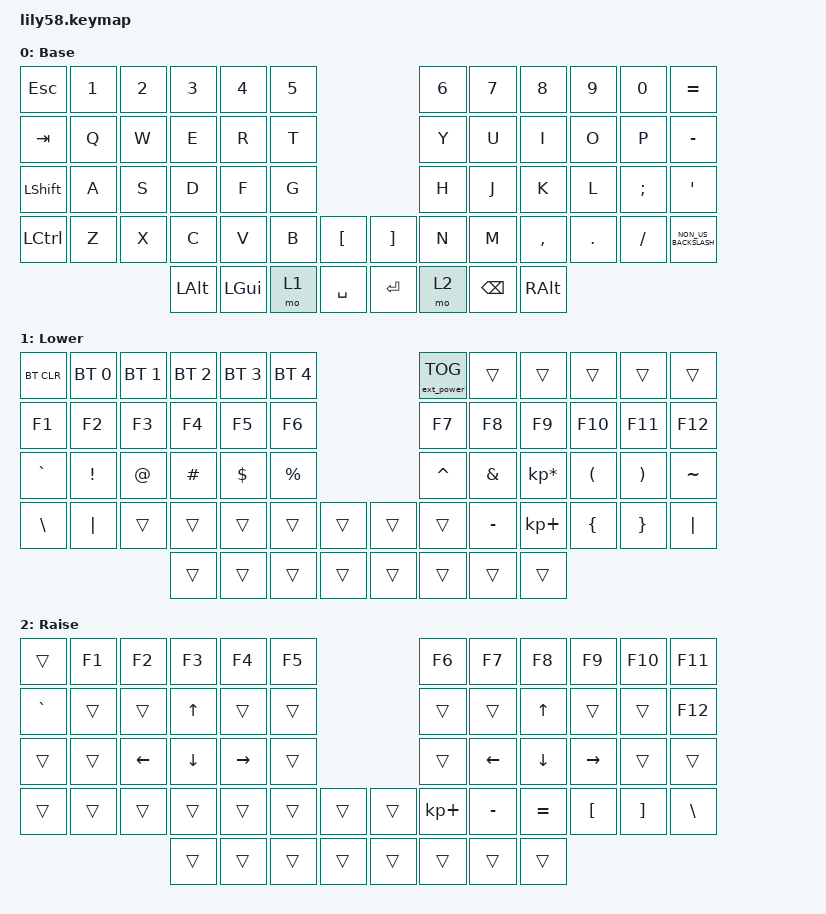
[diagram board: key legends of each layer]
/*
 * Copyright (c) 2020 The ZMK Contributors
 *
 * SPDX-License-Identifier: MIT
 */

#include <behaviors.dtsi>
#include <dt-bindings/zmk/bt.h>
#include <dt-bindings/zmk/ext_power.h>
#include <dt-bindings/zmk/keys.h>

/ {
    combos {
        compatible = "zmk,combos";

        delete {
            bindings = <&kp DELETE>;
            key-positions = <56 49>;
            layers = <0>;
        };

        toggle_lower_layer {
            bindings = <&tog 1>;
            key-positions = <52 36>;
        };

        toggle_higher_layer {
            bindings = <&tog 2>;
            key-positions = <55 49>;
        };
    };

    keymap {
        compatible = "zmk,keymap";

        default_layer {
            // ------------------------------------------------------------------------------------------------------------
            // |  ESC  |  1  |  2  |  3   |  4   |  5   |                   |  6   |  7    |  8    |  9   |   0   |   `   |
            // |  TAB  |  Q  |  W  |  E   |  R   |  T   |                   |  Y   |  U    |  I    |  O   |   P   |   -   |
            // |  CTRL |  A  |  S  |  D   |  F   |  G   |                   |  H   |  J    |  K    |  L   |   ;   |   '   |
            // | SHIFT |  Z  |  X  |  C   |  V   |  B   |   "["  |  |  "]"  |  N   |  M    |  ,    |  .   |   /   | SHIFT |
            //                     | ALT  | GUI  | LOWER|  SPACE |  | ENTER | RAISE| BSPC  | GUI   |

            display-name = "Base";
            bindings = <
&kp ESC           &kp N1  &kp N2  &kp N3    &kp N4    &kp N5                         &kp N6  &kp N7    &kp N8         &kp N9   &kp N0    &kp EQUAL
&kp TAB           &kp Q   &kp W   &kp E     &kp R     &kp T                          &kp Y   &kp U     &kp I          &kp O    &kp P     &kp MINUS
&kp LSHFT         &kp A   &kp S   &kp D     &kp F     &kp G                          &kp H   &kp J     &kp K          &kp L    &kp SEMI  &kp SQT
&kp LEFT_CONTROL  &kp Z   &kp X   &kp C     &kp V     &kp B   &kp LBKT     &kp RBKT  &kp N   &kp M     &kp COMMA      &kp DOT  &kp FSLH  &kp NON_US_BACKSLASH
                                  &kp LALT  &kp LGUI  &mo 1   &kp SPACE    &kp RET   &mo 2   &kp BSPC  &kp RIGHT_ALT
            >;
        };

        lower_layer {
            // ------------------------------------------------------------------------------------------------------------
            // | BTCLR | BT1 | BT2 |  BT3 |  BT4 |  BT5 |                   |      |       |       |      |       |       |
            // |  F1   |  F2 |  F3 |  F4  |  F5  |  F6  |                   |  F7  |  F8   |  F9   |  F10 |  F11  |  F12  |
            // |   `   |  !  |  @  |  #   |  $   |  %   |                   |  ^   |  &    |  *    |  (   |   )   |   ~   |
            // |       |     |     |      |      |      |        |  |       |      |  _    |  +    |  {   |   }   |  "|"  |
            //                     |      |      |      |        |  |       |      |       |       |

            display-name = "Lower";
            bindings = <
&bt BT_CLR     &bt BT_SEL 0  &bt BT_SEL 1  &bt BT_SEL 2  &bt BT_SEL 3  &bt BT_SEL 4                    &ext_power EP_TOG  &trans     &trans           &trans    &trans    &trans
&kp F1         &kp F2        &kp F3        &kp F4        &kp F5        &kp F6                          &kp F7             &kp F8     &kp F9           &kp F10   &kp F11   &kp F12
&kp GRAVE      &kp EXCL      &kp AT        &kp HASH      &kp DOLLAR    &kp PRCNT                       &kp CARET          &kp AMPS   &kp KP_MULTIPLY  &kp LPAR  &kp RPAR  &kp TILDE
&kp BACKSLASH  &kp PIPE      &trans        &trans        &trans        &trans        &trans    &trans  &trans             &kp MINUS  &kp KP_PLUS      &kp LBRC  &kp RBRC  &kp PIPE
                                           &trans        &trans        &trans        &trans    &trans  &trans             &trans     &trans
            >;
        };

        raise_layer {
            // ------------------------------------------------------------------------------------------------------------
            // |       |     |     |      |      |      |                   |      |       |       |      |       |       |
            // |   `   |  1  |  2  |  3   |  4   |  5   |                   |  6   |   7   |   8   |  9   |   0   |       |
            // |   F1  |  F2 |  F3 |  F4  |  F5  |  F6  |                   |      |   <-  |   v   |  ^   |  ->   |       |
            // |   F7  |  F8 |  F9 |  F10 |  F11 |  F12 |        |  |       |  +   |   -   |   =   |  [   |   ]   |   \   |
            //                     |      |      |      |        |  |       |      |       |       |

            display-name = "Raise";
            bindings = <
&trans     &kp F1  &kp F2          &kp F3        &kp F4     &kp F5                    &kp F6       &kp F7          &kp F8          &kp F9           &kp F10   &kp F11
&kp GRAVE  &trans  &trans          &kp UP_ARROW  &trans     &trans                    &trans       &trans          &kp UP_ARROW    &trans           &trans    &kp F12
&trans     &trans  &kp LEFT_ARROW  &kp DOWN      &kp RIGHT  &trans                    &trans       &kp LEFT_ARROW  &kp DOWN_ARROW  &kp RIGHT_ARROW  &trans    &trans
&trans     &trans  &trans          &trans        &trans     &trans  &trans    &trans  &kp KP_PLUS  &kp MINUS       &kp EQUAL       &kp LBKT         &kp RBKT  &kp BSLH
                                   &trans        &trans     &trans  &trans    &trans  &trans       &trans          &trans
            >;
        };

        extra_1 { status = "reserved"; };

        extra_2 { status = "reserved"; };

        extra_3 { status = "reserved"; };
    };
};
